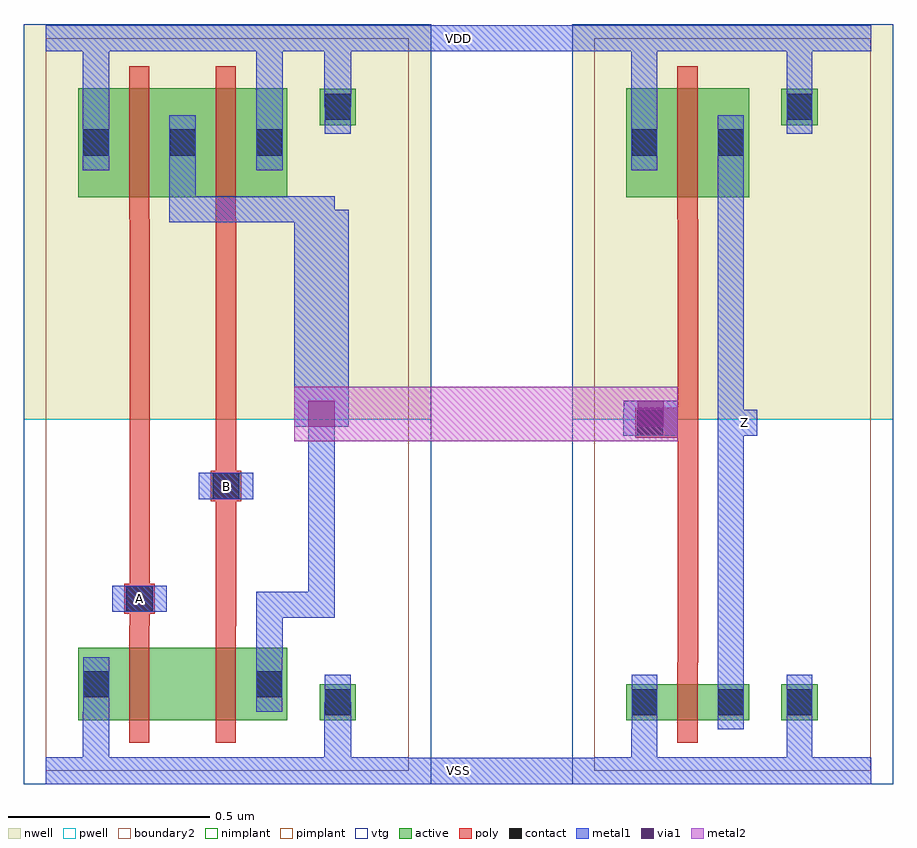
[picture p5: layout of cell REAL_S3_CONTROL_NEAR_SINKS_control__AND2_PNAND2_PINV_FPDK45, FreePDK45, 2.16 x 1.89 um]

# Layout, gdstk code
import gdstk
lib = gdstk.Library(unit=1e-6, precision=1e-09)
def R(c, l, rs):  # rectangles x0, y0, x1, y1
    for r in rs: c.add(gdstk.rectangle(r[:2], r[2:], *l))
active = (1, 0)
pwell = (2, 0)
nwell = (3, 0)
nimplant = (4, 0)
pimplant = (5, 0)
vtg = (6, 0)
poly = (9, 0)
contact = (10, 0)
metal1 = (11, 0)
via1 = (12, 0)
metal2 = (13, 0)
boundary2 = (239, 0)

real_s3_control_near_sin = lib.new_cell('REAL_S3_CONTROL_NEAR_SINKS_control__TEAMB_CLONE__nand__PNAND2_NW180_PW270_L50_FPDK45__PNAND2_NW180_PW270_L50_FPDK45_contact_8')
R(real_s3_control_near_sin, active, [(0,0.022,0.09,0.112)])
R(real_s3_control_near_sin, nwell, [(-0.055,-0.033,0.145,0.168)])
R(real_s3_control_near_sin, pimplant, [(0,0.022,0.09,0.112)])
R(real_s3_control_near_sin, contact, [(0.013,0.035,0.077,0.1)])
R(real_s3_control_near_sin, metal1, [(0.013,0,0.077,0.135)])
R(real_s3_control_near_sin, boundary2, [(-0.055,-0.033,0.145,0.168)])

c_real_s3_control_near_sin = lib.new_cell('REAL_S3_CONTROL_NEAR_SINKS_control__TEAMB_CLONE__nand__PNAND2_NW180_PW270_L50_FPDK45__PNAND2_NW180_PW270_L50_FPDK45_pmos_m1_w0_270_sm1_dm1')
R(c_real_s3_control_near_sin, active, [(0,0,0.305,0.27)])
R(c_real_s3_control_near_sin, nwell, [(-0.08,-0.08,0.385,0.35)])
R(c_real_s3_control_near_sin, pimplant, [(0,0,0.305,0.27)])
R(c_real_s3_control_near_sin, vtg, [(-0.08,-0.08,0.385,0.35)])
R(c_real_s3_control_near_sin, poly, [(0.127,-0.055,0.177,0.325), (0.127,-0.055,0.177,0.325)])
R(c_real_s3_control_near_sin, metal1, [(0.013,0.068,0.077,0.203), (0.227,0.068,0.292,0.203)])
R(c_real_s3_control_near_sin, boundary2, [(-0.08,-0.08,0.385,0.35)])
c_real_s3_control_near_sin.add(gdstk.Reference(real_s3_control_near_sin, (0,0.068)))
c_real_s3_control_near_sin.add(gdstk.Reference(real_s3_control_near_sin, (0.215,0.068)))

c_real_s3_control_near_sin_ = lib.new_cell('REAL_S3_CONTROL_NEAR_SINKS_control__TEAMB_CLONE__nand__PNAND2_NW180_PW270_L50_FPDK45__PNAND2_NW180_PW270_L50_FPDK45_contact_7')
R(c_real_s3_control_near_sin_, active, [(0,0.022,0.09,0.112)])
R(c_real_s3_control_near_sin_, pwell, [(-0.055,-0.033,0.145,0.168)])
R(c_real_s3_control_near_sin_, nimplant, [(0,0.022,0.09,0.112)])
R(c_real_s3_control_near_sin_, contact, [(0.013,0.035,0.077,0.1)])
R(c_real_s3_control_near_sin_, metal1, [(0.013,0,0.077,0.135)])
R(c_real_s3_control_near_sin_, boundary2, [(-0.055,-0.033,0.145,0.168)])

c_real_s3_control_near_sin__ = lib.new_cell('REAL_S3_CONTROL_NEAR_SINKS_control__TEAMB_CLONE__nand__PNAND2_NW180_PW270_L50_FPDK45__PNAND2_NW180_PW270_L50_FPDK45_nmos_m1_w0_180_sm1_dactive')
R(c_real_s3_control_near_sin__, active, [(0,0,0.305,0.18), (0.215,0.045,0.305,0.135)])
R(c_real_s3_control_near_sin__, pwell, [(-0.08,-0.08,0.385,0.26)])
R(c_real_s3_control_near_sin__, nimplant, [(0,0,0.305,0.18)])
R(c_real_s3_control_near_sin__, vtg, [(-0.08,-0.08,0.385,0.26)])
R(c_real_s3_control_near_sin__, poly, [(0.127,-0.055,0.177,0.235), (0.127,-0.055,0.177,0.235)])
R(c_real_s3_control_near_sin__, metal1, [(0.013,0.022,0.077,0.157)])
R(c_real_s3_control_near_sin__, boundary2, [(-0.08,-0.08,0.385,0.26)])
c_real_s3_control_near_sin__.add(gdstk.Reference(c_real_s3_control_near_sin_, (0,0.022)))

c_real_s3_control_near_sin___ = lib.new_cell('REAL_S3_CONTROL_NEAR_SINKS_control__TEAMB_CLONE__nand__PNAND2_NW180_PW270_L50_FPDK45__PNAND2_NW180_PW270_L50_FPDK45_nmos_m1_w0_180_sactive_dm1')
R(c_real_s3_control_near_sin___, active, [(0,0,0.305,0.18), (0,0.045,0.09,0.135)])
R(c_real_s3_control_near_sin___, pwell, [(-0.08,-0.08,0.385,0.26)])
R(c_real_s3_control_near_sin___, nimplant, [(0,0,0.305,0.18)])
R(c_real_s3_control_near_sin___, vtg, [(-0.08,-0.08,0.385,0.26)])
R(c_real_s3_control_near_sin___, poly, [(0.127,-0.055,0.177,0.235), (0.127,-0.055,0.177,0.235)])
R(c_real_s3_control_near_sin___, metal1, [(0.227,0.022,0.292,0.157)])
R(c_real_s3_control_near_sin___, boundary2, [(-0.08,-0.08,0.385,0.26)])
c_real_s3_control_near_sin___.add(gdstk.Reference(c_real_s3_control_near_sin_, (0.215,0.022)))

c_real_s3_control_near_sin____ = lib.new_cell('REAL_S3_CONTROL_NEAR_SINKS_control__TEAMB_CLONE__nand__PNAND2_NW180_PW270_L50_FPDK45__PNAND2_NW180_PW270_L50_FPDK45_contact_9')
R(c_real_s3_control_near_sin____, active, [(0,0.022,0.09,0.112)])
R(c_real_s3_control_near_sin____, nwell, [(-0.055,-0.033,0.145,0.168)])
R(c_real_s3_control_near_sin____, nimplant, [(0,0.022,0.09,0.112)])
R(c_real_s3_control_near_sin____, contact, [(0.013,0.035,0.077,0.1)])
R(c_real_s3_control_near_sin____, metal1, [(0.013,0,0.077,0.135)])
R(c_real_s3_control_near_sin____, boundary2, [(-0.055,-0.033,0.145,0.168)])

c_real_s3_control_near_sin_____ = lib.new_cell('REAL_S3_CONTROL_NEAR_SINKS_control__TEAMB_CLONE__nand__PNAND2_NW180_PW270_L50_FPDK45__PNAND2_NW180_PW270_L50_FPDK45_contact_10')
R(c_real_s3_control_near_sin_____, active, [(0,0.022,0.09,0.112)])
R(c_real_s3_control_near_sin_____, pwell, [(-0.055,-0.033,0.145,0.168)])
R(c_real_s3_control_near_sin_____, pimplant, [(0,0.022,0.09,0.112)])
R(c_real_s3_control_near_sin_____, contact, [(0.013,0.035,0.077,0.1)])
R(c_real_s3_control_near_sin_____, metal1, [(0.013,0,0.077,0.135)])
R(c_real_s3_control_near_sin_____, boundary2, [(-0.055,-0.033,0.145,0.168)])

c_real_s3_control_near_sin______ = lib.new_cell('REAL_S3_CONTROL_NEAR_SINKS_control__TEAMB_CLONE__nand__PNAND2_NW180_PW270_L50_FPDK45__PNAND2_NW180_PW270_L50_FPDK45_contact_11')
R(c_real_s3_control_near_sin______, poly, [(0.03,0,0.105,0.075)])
R(c_real_s3_control_near_sin______, contact, [(0.035,0.005,0.1,0.07)])
R(c_real_s3_control_near_sin______, metal1, [(0,0.005,0.135,0.07)])
R(c_real_s3_control_near_sin______, boundary2, [(0,0,0.135,0.075)])

c_real_s3_control_near_sin_______ = lib.new_cell('REAL_S3_CONTROL_NEAR_SINKS_control__TEAMB_CLONE__nand__PNAND2_NW180_PW270_L50_FPDK45__PNAND2_NW180_PW270_L50_FPDK45_pnand2')
R(c_real_s3_control_near_sin_______, pwell, [(-0.055,-0.033,0.957,0.873)])
R(c_real_s3_control_near_sin_______, nwell, [(-0.055,0.873,0.957,1.855)])
R(c_real_s3_control_near_sin_______, vtg, [(-0.055,-0.033,0.957,0.873), (-0.055,0.873,0.957,1.855)])
R(c_real_s3_control_near_sin_______, poly, [(0.208,0.36,0.258,1.37), (0.422,0.36,0.473,1.37), (0.208,0.39,0.232,0.465), (0.422,0.67,0.447,0.745)])
R(c_real_s3_control_near_sin_______, metal1, [(0,-0.033,0.902,0.033), (0.092,-0.033,0.157,0.147), (0.692,0,0.758,0.17), (0.522,0.283,0.588,0.413), (0.522,0.38,0.588,0.445), (0.555,0.38,0.685,0.445), (0.652,0.38,0.718,0.445), (0.165,0.395,0.3,0.46), (0.652,0.413,0.718,1.395), (0.38,0.675,0.515,0.74), (0.307,1.363,0.372,1.427), (0.34,1.363,0.685,1.427), (0.652,1.363,0.718,1.427), (0.307,1.395,0.372,1.492), (0.092,1.492,0.157,1.852), (0.522,1.492,0.588,1.852), (0.692,1.65,0.758,1.82), (0,1.787,0.902,1.852)])
R(c_real_s3_control_near_sin_______, boundary2, [(0,0,0.902,1.82), (0,0,0.902,1.82)])
c_real_s3_control_near_sin_______.add(gdstk.Reference(c_real_s3_control_near_sin, (0.08,1.425)))
c_real_s3_control_near_sin_______.add(gdstk.Reference(c_real_s3_control_near_sin, (0.295,1.425)))
c_real_s3_control_near_sin_______.add(gdstk.Reference(c_real_s3_control_near_sin__, (0.08,0.125)))
c_real_s3_control_near_sin_______.add(gdstk.Reference(c_real_s3_control_near_sin___, (0.295,0.125)))
c_real_s3_control_near_sin_______.add(gdstk.Reference(c_real_s3_control_near_sin____, (0.68,1.582)))
c_real_s3_control_near_sin_______.add(gdstk.Reference(c_real_s3_control_near_sin_____, (0.68,0.103)))
c_real_s3_control_near_sin_______.add(gdstk.Reference(c_real_s3_control_near_sin______, (0.165,0.39)))
c_real_s3_control_near_sin_______.add(gdstk.Reference(c_real_s3_control_near_sin______, (0.38,0.67)))

c_real_s3_control_near_sin________ = lib.new_cell('REAL_S3_CONTROL_NEAR_SINKS_control__TEAMB_CLONE__nand__PNAND2_NW180_PW270_L50_FPDK45__PNAND2_NW180_PW270_L50_FPDK45')
R(c_real_s3_control_near_sin________, metal1, [(0,-0.033,0.902,0.033), (0.165,0.395,0.3,0.46), (0.38,0.675,0.515,0.74), (0.652,1.363,0.718,1.427), (0,1.787,0.902,1.852)])
R(c_real_s3_control_near_sin________, boundary2, [(0,0,0.902,1.82)])
c_real_s3_control_near_sin________.add(gdstk.Reference(c_real_s3_control_near_sin_______, (0,0)))

c_real_s3_control_near_sin_________ = lib.new_cell('REAL_S3_CONTROL_NEAR_SINKS_control__TEAMB_CLONE__inv__PINV_NW90_PW270_L50__TRANSMISSION_GATE_NW250_PW500_L50_contact_8')
R(c_real_s3_control_near_sin_________, active, [(0,0.022,0.09,0.112), (0,0.022,0.09,0.112)])
R(c_real_s3_control_near_sin_________, nwell, [(-0.055,-0.033,0.145,0.168), (-0.055,-0.033,0.145,0.168)])
R(c_real_s3_control_near_sin_________, pimplant, [(0,0.022,0.09,0.112), (0,0.022,0.09,0.112)])
R(c_real_s3_control_near_sin_________, contact, [(0.013,0.035,0.077,0.1), (0.013,0.035,0.077,0.1)])
R(c_real_s3_control_near_sin_________, metal1, [(0.013,0,0.077,0.135), (0.013,0,0.077,0.135)])
R(c_real_s3_control_near_sin_________, boundary2, [(-0.055,-0.033,0.145,0.168), (-0.055,-0.033,0.145,0.168)])

c_real_s3_control_near_sin__________ = lib.new_cell('REAL_S3_CONTROL_NEAR_SINKS_control__TEAMB_CLONE__inv__PINV_NW90_PW270_L50__PINV_NW180_PW270_L50_pmos_m1_w0_270_sm1_dm1_da_p')
R(c_real_s3_control_near_sin__________, active, [(0,0,0.305,0.27), (0,0,0.305,0.27)])
R(c_real_s3_control_near_sin__________, nwell, [(-0.08,-0.08,0.385,0.35), (-0.08,-0.08,0.385,0.35)])
R(c_real_s3_control_near_sin__________, pimplant, [(0,0,0.305,0.27), (0,0,0.305,0.27)])
R(c_real_s3_control_near_sin__________, vtg, [(-0.08,-0.08,0.385,0.35), (-0.08,-0.08,0.385,0.35)])
R(c_real_s3_control_near_sin__________, poly, [(0.127,-0.055,0.177,0.325), (0.127,-0.055,0.177,0.325), (0.127,-0.055,0.177,0.325), (0.127,-0.055,0.177,0.325)])
R(c_real_s3_control_near_sin__________, metal1, [(0.013,0.068,0.077,0.203), (0.013,0.068,0.077,0.203), (0.227,0.068,0.292,0.203), (0.227,0.068,0.292,0.203)])
R(c_real_s3_control_near_sin__________, boundary2, [(-0.08,-0.08,0.385,0.35), (-0.08,-0.08,0.385,0.35)])
c_real_s3_control_near_sin__________.add(gdstk.Reference(c_real_s3_control_near_sin_________, (0,0.068)))
c_real_s3_control_near_sin__________.add(gdstk.Reference(c_real_s3_control_near_sin_________, (0.215,0.068)))

c_real_s3_control_near_sin___________ = lib.new_cell('REAL_S3_CONTROL_NEAR_SINKS_control__TEAMB_CLONE__inv__PINV_NW90_PW270_L50__TRANSMISSION_GATE_NW250_PW500_L50_contact_7')
R(c_real_s3_control_near_sin___________, active, [(0,0.022,0.09,0.112), (0,0.022,0.09,0.112)])
R(c_real_s3_control_near_sin___________, pwell, [(-0.055,-0.033,0.145,0.168), (-0.055,-0.033,0.145,0.168)])
R(c_real_s3_control_near_sin___________, nimplant, [(0,0.022,0.09,0.112), (0,0.022,0.09,0.112)])
R(c_real_s3_control_near_sin___________, contact, [(0.013,0.035,0.077,0.1), (0.013,0.035,0.077,0.1)])
R(c_real_s3_control_near_sin___________, metal1, [(0.013,0,0.077,0.135), (0.013,0,0.077,0.135)])
R(c_real_s3_control_near_sin___________, boundary2, [(-0.055,-0.033,0.145,0.168), (-0.055,-0.033,0.145,0.168)])

c_real_s3_control_near_sin____________ = lib.new_cell('REAL_S3_CONTROL_NEAR_SINKS_control__TEAMB_CLONE__inv__PINV_NW90_PW270_L50__PINV_NW90_PW270_L50_nmos_m1_w0_090_sm1_dm1_da_p')
R(c_real_s3_control_near_sin____________, active, [(0,0,0.305,0.09), (0,0,0.305,0.09)])
R(c_real_s3_control_near_sin____________, pwell, [(-0.08,-0.08,0.385,0.17), (-0.08,-0.08,0.385,0.17)])
R(c_real_s3_control_near_sin____________, nimplant, [(0,0,0.305,0.09), (0,0,0.305,0.09)])
R(c_real_s3_control_near_sin____________, vtg, [(-0.08,-0.08,0.385,0.17), (-0.08,-0.08,0.385,0.17)])
R(c_real_s3_control_near_sin____________, poly, [(0.127,-0.055,0.177,0.145), (0.127,-0.055,0.177,0.145), (0.127,-0.055,0.177,0.145), (0.127,-0.055,0.177,0.145)])
R(c_real_s3_control_near_sin____________, metal1, [(0.013,-0.022,0.077,0.112), (0.013,-0.022,0.077,0.112), (0.227,-0.022,0.292,0.112), (0.227,-0.022,0.292,0.112)])
R(c_real_s3_control_near_sin____________, boundary2, [(-0.08,-0.08,0.385,0.17), (-0.08,-0.08,0.385,0.17)])
c_real_s3_control_near_sin____________.add(gdstk.Reference(c_real_s3_control_near_sin___________, (0,-0.022)))
c_real_s3_control_near_sin____________.add(gdstk.Reference(c_real_s3_control_near_sin___________, (0.215,-0.022)))

c_real_s3_control_near_sin_____________ = lib.new_cell('REAL_S3_CONTROL_NEAR_SINKS_control__TEAMB_CLONE__inv__PINV_NW90_PW270_L50__TRANSMISSION_GATE_NW250_PW500_L50_contact_9')
R(c_real_s3_control_near_sin_____________, active, [(0,0.022,0.09,0.112), (0,0.022,0.09,0.112)])
R(c_real_s3_control_near_sin_____________, nwell, [(-0.055,-0.033,0.145,0.168), (-0.055,-0.033,0.145,0.168)])
R(c_real_s3_control_near_sin_____________, nimplant, [(0,0.022,0.09,0.112), (0,0.022,0.09,0.112)])
R(c_real_s3_control_near_sin_____________, contact, [(0.013,0.035,0.077,0.1), (0.013,0.035,0.077,0.1)])
R(c_real_s3_control_near_sin_____________, metal1, [(0.013,0,0.077,0.135), (0.013,0,0.077,0.135)])
R(c_real_s3_control_near_sin_____________, boundary2, [(-0.055,-0.033,0.145,0.168), (-0.055,-0.033,0.145,0.168)])

c_real_s3_control_near_sin______________ = lib.new_cell('REAL_S3_CONTROL_NEAR_SINKS_control__TEAMB_CLONE__inv__PINV_NW90_PW270_L50__TRANSMISSION_GATE_NW250_PW500_L50_contact_10')
R(c_real_s3_control_near_sin______________, active, [(0,0.022,0.09,0.112), (0,0.022,0.09,0.112)])
R(c_real_s3_control_near_sin______________, pwell, [(-0.055,-0.033,0.145,0.168), (-0.055,-0.033,0.145,0.168)])
R(c_real_s3_control_near_sin______________, pimplant, [(0,0.022,0.09,0.112), (0,0.022,0.09,0.112)])
R(c_real_s3_control_near_sin______________, contact, [(0.013,0.035,0.077,0.1), (0.013,0.035,0.077,0.1)])
R(c_real_s3_control_near_sin______________, metal1, [(0.013,0,0.077,0.135), (0.013,0,0.077,0.135)])
R(c_real_s3_control_near_sin______________, boundary2, [(-0.055,-0.033,0.145,0.168), (-0.055,-0.033,0.145,0.168)])

c_real_s3_control_near_sin_______________ = lib.new_cell('REAL_S3_CONTROL_NEAR_SINKS_control__TEAMB_CLONE__inv__PINV_NW90_PW270_L50__PINV_NW180_PW270_L50_contact_11')
R(c_real_s3_control_near_sin_______________, poly, [(0.03,0,0.105,0.075), (0.03,0,0.105,0.075)])
R(c_real_s3_control_near_sin_______________, contact, [(0.035,0.005,0.1,0.07), (0.035,0.005,0.1,0.07)])
R(c_real_s3_control_near_sin_______________, metal1, [(0,0.005,0.135,0.07), (0,0.005,0.135,0.07)])
R(c_real_s3_control_near_sin_______________, boundary2, [(0,0,0.135,0.075), (0,0,0.135,0.075)])

c_real_s3_control_near_sin________________ = lib.new_cell('REAL_S3_CONTROL_NEAR_SINKS_control__TEAMB_CLONE__inv__PINV_NW90_PW270_L50__PINV_NW90_PW270_L50_core')
R(c_real_s3_control_near_sin________________, pwell, [(-0.055,-0.033,0.743,0.873), (-0.055,-0.033,0.743,0.873)])
R(c_real_s3_control_near_sin________________, nwell, [(-0.055,0.873,0.743,1.855), (-0.055,0.873,0.743,1.855)])
R(c_real_s3_control_near_sin________________, vtg, [(-0.055,-0.033,0.743,0.873), (-0.055,-0.033,0.743,0.873), (-0.055,0.873,0.743,1.855), (-0.055,0.873,0.743,1.855)])
R(c_real_s3_control_near_sin________________, poly, [(0.208,0.27,0.258,1.37), (0.208,0.27,0.258,1.37), (0.14,0.827,0.208,0.902), (0.14,0.827,0.208,0.902)])
R(c_real_s3_control_near_sin________________, metal1, [(0,-0.033,0.687,0.033), (0,-0.033,0.687,0.033), (0.092,-0.033,0.157,0.103), (0.092,-0.033,0.157,0.103), (0.478,0,0.542,0.17), (0.478,0,0.542,0.17), (0.307,0.103,0.372,1.627), (0.307,0.103,0.372,1.627), (0.072,0.832,0.208,0.897), (0.072,0.832,0.208,0.897), (0.34,0.832,0.405,0.897), (0.34,0.832,0.405,0.897), (0.092,1.492,0.157,1.852), (0.092,1.492,0.157,1.852), (0.478,1.65,0.542,1.82), (0.478,1.65,0.542,1.82), (0,1.787,0.687,1.852), (0,1.787,0.687,1.852)])
R(c_real_s3_control_near_sin________________, boundary2, [(0,0,0.687,1.82), (0,0,0.687,1.82), (0,0,0.687,1.82), (0,0,0.687,1.82)])
c_real_s3_control_near_sin________________.add(gdstk.Reference(c_real_s3_control_near_sin__________, (0.08,1.425)))
c_real_s3_control_near_sin________________.add(gdstk.Reference(c_real_s3_control_near_sin____________, (0.08,0.125)))
c_real_s3_control_near_sin________________.add(gdstk.Reference(c_real_s3_control_near_sin_____________, (0.465,1.582)))
c_real_s3_control_near_sin________________.add(gdstk.Reference(c_real_s3_control_near_sin______________, (0.465,0.103)))
c_real_s3_control_near_sin________________.add(gdstk.Reference(c_real_s3_control_near_sin_______________, (0.072,0.827)))

c_real_s3_control_near_sin_________________ = lib.new_cell('REAL_S3_CONTROL_NEAR_SINKS_control__TEAMB_CLONE__inv__PINV_NW90_PW270_L50__PINV_NW90_PW270_L50')
R(c_real_s3_control_near_sin_________________, metal1, [(0,-0.033,0.687,0.033), (0,-0.033,0.687,0.033), (0.072,0.832,0.208,0.897), (0.072,0.832,0.208,0.897), (0.34,0.832,0.405,0.897), (0.34,0.832,0.405,0.897), (0,1.787,0.687,1.852), (0,1.787,0.687,1.852)])
R(c_real_s3_control_near_sin_________________, boundary2, [(0,0,0.687,1.82), (0,0,0.687,1.82)])
c_real_s3_control_near_sin_________________.add(gdstk.Reference(c_real_s3_control_near_sin________________, (0,0)))

c_real_s3_control_near_sin__________________ = lib.new_cell('REAL_S3_CONTROL_NEAR_SINKS_control__AND2_PNAND2_PINV_FPDK45')
R(c_real_s3_control_near_sin__________________, metal1, [(0.055,0,2.105,0.065), (0.672,0.888,0.807,1.427), (1.49,0.888,1.625,0.952), (0.055,1.82,2.105,1.885)])
R(c_real_s3_control_near_sin__________________, via1, [(0.707,0.888,0.772,0.952), (1.525,0.888,1.59,0.952)])
R(c_real_s3_control_near_sin__________________, metal2, [(0.672,0.852,0.807,0.987), (0.74,0.852,1.558,0.987), (1.49,0.852,1.625,0.987)])
c_real_s3_control_near_sin__________________.add(gdstk.Reference(c_real_s3_control_near_sin________, (0.055,0.033)))
c_real_s3_control_near_sin__________________.add(gdstk.Reference(c_real_s3_control_near_sin_________________, (1.417,0.033)))
c_real_s3_control_near_sin__________________.add(gdstk.Label('VDD', (1.08,1.852), layer=11, texttype=2))
c_real_s3_control_near_sin__________________.add(gdstk.Label('VSS', (1.08,0.033), layer=11, texttype=2))
c_real_s3_control_near_sin__________________.add(gdstk.Label('A', (0.288,0.46), layer=11, texttype=2))
c_real_s3_control_near_sin__________________.add(gdstk.Label('B', (0.503,0.74), layer=11, texttype=2))
c_real_s3_control_near_sin__________________.add(gdstk.Label('Z', (1.79,0.897), layer=11, texttype=2))

lib.write_gds('REAL_S3_CONTROL_NEAR_SINKS_control__AND2_PNAND2_PINV_FPDK45.gds')
